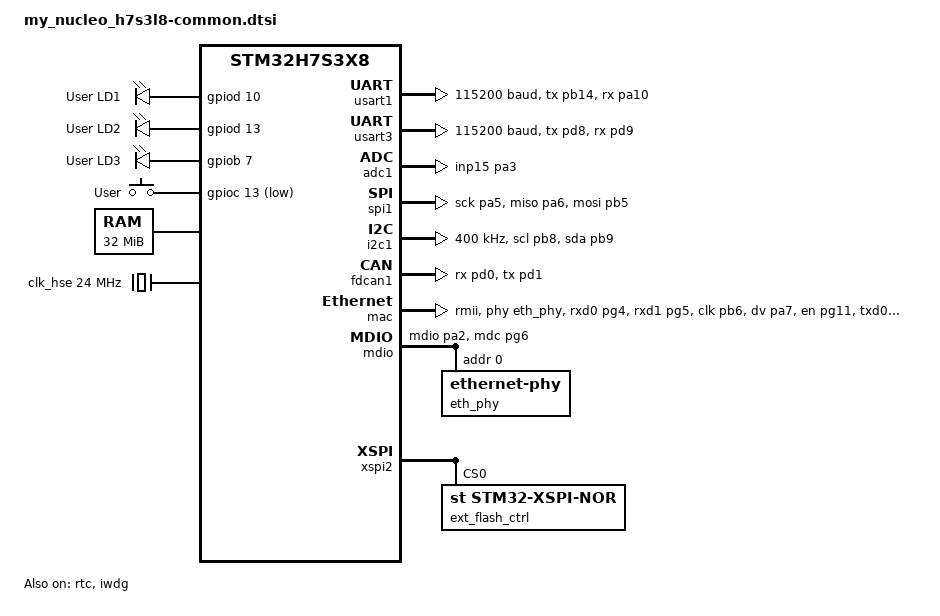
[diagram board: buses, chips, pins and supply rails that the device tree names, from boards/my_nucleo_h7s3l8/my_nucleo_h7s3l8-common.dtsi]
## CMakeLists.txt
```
cmake_minimum_required(VERSION 3.20.0)

set(ZEPHYR_EXTRA_MODULES "${CMAKE_CURRENT_LIST_DIR}/../modules/my-led-driver")
list(APPEND BOARD_ROOT ${CMAKE_CURRENT_LIST_DIR}/..)
list(APPEND DTS_ROOTS ${CMAKE_CURRENT_LIST_DIR}/..)
find_package(Zephyr REQUIRED)
project(my_zephyr_app)

target_sources(app PRIVATE src/main.cpp)

if (CONFIG_SHELL)
    zephyr_library_sources(src/app_shell.c)
endif()
```

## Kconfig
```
config APP_HEARTBEAT_PERIOD_MS
    int "LED heartbeat period (ms)"
    range 100 2000
    default 500

source "Kconfig.zephyr"
```

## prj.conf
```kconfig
CONFIG_GPIO=y
CONFIG_LOG=y
CONFIG_MY_LED_DRIVER=y

CONFIG_SERIAL=y
CONFIG_CONSOLE=y
CONFIG_UART_CONSOLE=y

CONFIG_SHELL=y
CONFIG_SHELL_BACKEND_SERIAL=y
```

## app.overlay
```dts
/* Nucleo H7S3L8 board LED overlay */
/ {
	my_led: my_led_driver {
		compatible = "mircea,my-led-driver";
		status = "okay";
		gpios = <&gpiob 7 GPIO_ACTIVE_HIGH>; /* Red LED on Nucleo H7S3L8 board */
	};

	my_led2: my_led_driver2 {
		compatible = "mircea,my-led-driver";
		status = "okay";
		gpios = <&gpiod 10 GPIO_ACTIVE_HIGH>; /* Green LED on Nucleo H7S3L8 board */
	};
};
```

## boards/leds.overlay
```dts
/* Nucleo H7S3L8 board LED overlay */
/ {
	aliases {
		ok-led = &green_led;
		warning-led = &yellow_led;
		error-led = &red_led;
	};
};
```

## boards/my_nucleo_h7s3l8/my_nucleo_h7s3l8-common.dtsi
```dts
/*
 * Copyright (c) 2024 STMicroelectronics
 * Copyright (c) 2025 JB-Lighting Lichtanlagentechnik
 *
 * SPDX-License-Identifier: Apache-2.0
 */

/dts-v1/;
#include <st/h7rs/stm32h7s3X8.dtsi>
#include <st/h7/stm32h7s3l8hx-pinctrl.dtsi>
#include "arduino_r3_connector.dtsi"
#include <zephyr/dt-bindings/input/input-event-codes.h>

/ {
	chosen {
		zephyr,console = &usart3;
		zephyr,shell-uart = &usart3;
		zephyr,dtcm = &dtcm;
		zephyr,sram = &sram0;
		zephyr,canbus = &fdcan1;
	};

	leds: leds {
		compatible = "gpio-leds";

		green_led: led_1 {
			gpios = <&gpiod 10 GPIO_ACTIVE_HIGH>;
			label = "User LD1";
		};

		yellow_led: led_2 {
			gpios = <&gpiod 13 GPIO_ACTIVE_HIGH>;
			label = "User LD2";
		};

		red_led: led_3 {
			gpios = <&gpiob 7 GPIO_ACTIVE_HIGH>;
			label = "User LD3";
		};
	};

	gpio_keys {
		compatible = "gpio-keys";

		user_button: button_0 {
			label = "User";
			gpios = <&gpioc 13 (GPIO_ACTIVE_LOW | GPIO_PULL_UP)>;
			zephyr,code = <INPUT_KEY_0>;
		};
	};

	aliases {
		led0 = &green_led;
		led1 = &yellow_led;
		led2 = &red_led;
		sw0 = &user_button;
		watchdog0 = &iwdg;
		spi-flash0 = &mx25uw25645;
		rtc = &rtc;
	};

	ext_memory: memory@70000000 {
		compatible = "zephyr,memory-region";
		reg = <0x70000000 DT_SIZE_M(32)>;
		zephyr,memory-region = "EXTMEM";
		zephyr,memory-attr = <DT_MEM_ARM(ATTR_MPU_FLASH)>;
	};
};

&clk_hse {
	clock-frequency = <DT_FREQ_M(24)>;
	status = "okay";
};

&clk_lse {
	status = "okay";
};

&pll {
	div-m = <12>;
	mul-n = <300>;
	div-p = <1>;
	div-q = <2>;
	div-r = <2>;
	div-s = <2>;
	div-t = <2>;
	clocks = <&clk_hse>;
	status = "okay";
};

/* PLL2 for clocking the xspi peripheral */
&pll2 {
	div-m = <12>;
	mul-n = <200>;
	div-p = <2>;
	div-q = <2>;
	div-r = <2>;
	div-s = <2>;
	div-t = <2>;
	clocks = <&clk_hse>;
	status = "okay";
};

&rcc {
	clocks = <&pll>;
	clock-frequency = <DT_FREQ_M(600)>;
	dcpre = <1>;
	hpre = <2>;
	ppre1 = <2>;
	ppre2 = <2>;
	ppre4 = <2>;
	ppre5 = <2>;
};

&pwr {
	power-supply = "ldo";
};

&usart1 {
	pinctrl-0 = <&usart1_tx_pb14 &usart1_rx_pa10>;
	pinctrl-names = "default";
	current-speed = <115200>;
	status = "okay";
};

&usart3 {
	pinctrl-0 = <&usart3_tx_pd8 &usart3_rx_pd9>;
	pinctrl-names = "default";
	current-speed = <115200>;
	status = "okay";
};

&gpdma1 {
	status = "okay";
};

&hpdma1 {
	status = "okay";
};

&rtc {
	clocks = <&rcc STM32_CLOCK(APB4, 16)>,
		 <&rcc STM32_SRC_LSE RTC_SEL(1)>;
	status = "okay";
};

&iwdg {
	status = "okay";
};

&adc1 {
	pinctrl-0 = <&adc1_inp15_pa3>; /* Arduino A0 */
	pinctrl-names = "default";
	st,adc-clock-source = "SYNC";
	st,adc-prescaler = <4>;
	status = "okay";
};

&spi1 {
	status = "okay";
	pinctrl-0 = <&spi1_sck_pa5 &spi1_miso_pa6 &spi1_mosi_pb5>;
	pinctrl-names = "default";
	cs-gpios = <&gpiod 14 (GPIO_ACTIVE_LOW | GPIO_PULL_UP)>;
};

&i2c1 {
	pinctrl-0 = <&i2c1_scl_pb8 &i2c1_sda_pb9>;
	pinctrl-names = "default";
	scl-gpios = <&gpiob 8 GPIO_ACTIVE_HIGH>;
	sda-gpios = <&gpiob 9 GPIO_ACTIVE_HIGH>;
	status = "okay";
	clock-frequency = <I2C_BITRATE_FAST>;
};

&fdcan1 {
	pinctrl-0 = <&fdcan1_rx_pd0 &fdcan1_tx_pd1>;
	pinctrl-names = "default";
	clocks = <&rcc STM32_CLOCK(APB1_2, 8)>,
		 <&rcc STM32_SRC_HSE FDCAN_SEL(0)>;
	status = "okay";
};

&mac {
	pinctrl-0 = <&eth_rmii_rxd0_pg4
		     &eth_rmii_rxd1_pg5
		     &eth_rmii_ref_clk_pb6
		     &eth_rmii_crs_dv_pa7
		     &eth_rmii_tx_en_pg11
		     &eth_rmii_txd0_pg13
		     &eth_rmii_txd1_pg12>;
	pinctrl-names = "default";
	phy-connection-type = "rmii";
	phy-handle = <&eth_phy>;
	status = "okay";
};

&mdio {
	pinctrl-0 = <&eth_mdio_pa2 &eth_mdc_pg6>;
	pinctrl-names = "default";
	status = "okay";

	eth_phy: ethernet-phy@0 {
		compatible = "ethernet-phy";
		reg = <0x00>;
	};
};

// &xspim {
// 	status = "okay";
// };

&xspi2 {
	pinctrl-0 = <&xspim_p2_clk_pn6 &xspim_p2_ncs1_pn1
		     &xspim_p2_io0_pn2 &xspim_p2_io1_pn3
		     &xspim_p2_io2_pn4 &xspim_p2_io3_pn5
		     &xspim_p2_io4_pn8 &xspim_p2_io5_pn9
		     &xspim_p2_io6_pn10 &xspim_p2_io7_pn11
		     &xspim_p2_dqs0_pn0>;
	pinctrl-names = "default";

	status = "okay";

	ext_flash_ctrl: xspi-nor-flash@0 {
		compatible = "st,stm32-xspi-nor";
		reg = <0>;
		size = <DT_SIZE_M(256)>; /* 256Mbits */
		ospi-max-frequency = <DT_FREQ_M(50)>;
		spi-bus-width = <XSPI_OCTO_MODE>;
		data-rate = <XSPI_DTR_TRANSFER>;
		four-byte-opcodes;
		status = "okay";

		#address-cells = <1>;
		#size-cells = <1>;
		ranges = <0x0 0x70000000 DT_SIZE_M(32)>;

		ext_flash: mx25uw25645: xspi-nor-flash@0 {
			compatible = "soc-nv-flash";
			reg = <0x0 DT_SIZE_M(32)>;
			write-block-size = <1>;
			erase-block-size = <DT_SIZE_K(4)>;
			#address-cells = <1>;
			#size-cells = <1>;
			ranges;
		};
	};
};

// zephyr_udc0: &usbotg_hs {
// 	pinctrl-0 = <&usb_otg_hs_dm_pm5 &usb_otg_hs_dp_pm6>;
// 	pinctrl-names = "default";
// 	status = "okay";
// };

// &usbphyc {
// 	/*
// 	 * There is no need to change `clocks` because
// 	 * we use the default configuration after reset:
// 	 *  USBPHYC kernel clock = HSE @ 24 MHz
// 	 */
// 	status = "okay";
// };
```

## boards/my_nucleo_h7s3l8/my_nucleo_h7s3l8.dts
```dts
/*
 * Copyright (c) 2024-2025 STMicroelectronics
 * Copyright (c) 2025 JB-Lighting Lichtanlagentechnik
 *
 * SPDX-License-Identifier: Apache-2.0
 */

/dts-v1/;
#include "my_nucleo_h7s3l8-common.dtsi"

/ {
	model = "STMicroelectronics My Custom STM32H7S3L8-NUCLEO board";
	compatible = "st,stm32h7s3l8-nucleo";

	chosen {
		zephyr,flash = &flash0;
		zephyr,flash-controller = &flash;
	};
};

&ext_flash {
	status = "okay";

	partitions {
		compatible = "fixed-partitions";
		#address-cells = <1>;
		#size-cells = <1>;

		storage_partition: partition@0 {
			label = "storage";
			reg = <0x00000000 DT_SIZE_M(32)>; /* 32MB */
		};
	};
};

&iocell {
	status = "okay";

	vddxspi2 {
		hslv-mode = "on";
		compensation-enabled;
	};
};
```

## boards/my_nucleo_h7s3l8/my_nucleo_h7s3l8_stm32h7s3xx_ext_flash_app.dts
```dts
/*
 * Copyright (c) 2024 STMicroelectronics
 * Copyright (c) 2025 JB-Lighting Lichtanlagentechnik
 *
 * SPDX-License-Identifier: Apache-2.0
 */

/dts-v1/;
#include "my_nucleo_h7s3l8-common.dtsi"

/ {
	model = "STMicroelectronics My Custom STM32H7S3L8-NUCLEO board";
	compatible = "st,stm32h7s3l8-nucleo";

	chosen {
		zephyr,flash = &ext_flash;
		zephyr,flash-controller = &ext_flash_ctrl;
		zephyr,code-partition = &slot0_partition;
	};
};

&flash0 {
	partitions {
		#address-cells = <1>;
		#size-cells = <1>;
		ranges;

		boot_partition: partition@0 {
			compatible = "zephyr,mapped-partition";
			label = "mcuboot";
			reg = <0x00000000 DT_SIZE_K(64)>;
		};
	};
};

&ext_flash {
	status = "okay";

	partitions {
		#address-cells = <1>;
		#size-cells = <1>;
		ranges;

		slot0_partition: partition@0 {
			compatible = "zephyr,mapped-partition";
			label = "image-0";
			reg = <0x00000000 DT_SIZE_M(8)>;
		};

		slot1_partition: partition@800000 {
			compatible = "zephyr,mapped-partition";
			label = "image-1";
			reg = <0x00800000 DT_SIZE_M(8)>;
		};

		storage_partition: partition@1000000 {
			compatible = "zephyr,mapped-partition";
			label = "storage";
			reg = <0x01000000 DT_SIZE_M(16)>;
		};
	};
};
```

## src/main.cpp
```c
#include <zephyr/drivers/gpio.h>
#include <zephyr/kernel.h>
#include <zephyr/logging/log.h>
#include <zephyr/drivers/sensor.h>
#include "my-led-driver/my_led.h"

// LED as a sensor device
const struct device *led = DEVICE_DT_GET(DT_NODELABEL(my_led));

LOG_MODULE_REGISTER(main, LOG_LEVEL_INF);

int main(void)
{
    if (!device_is_ready(led)) {
        printk("My LED not ready!\n");
        return -ENODEV;
    }

    while (1) {
        my_led_driver_set_state(led, true);
        k_msleep(CONFIG_APP_HEARTBEAT_PERIOD_MS);
        my_led_driver_set_state(led, false);
        k_msleep(CONFIG_APP_HEARTBEAT_PERIOD_MS);
    }

    return 0;
}
```

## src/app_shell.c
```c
#include <zephyr/shell/shell.h>
#include <zephyr/drivers/sensor.h>
#include "my-led-driver/my_led.h"

const struct device *led_dev = DEVICE_DT_GET(DT_NODELABEL(my_led2));

static int cmd_sensor_fetch(const struct shell *sh, size_t argc, char **argv) {
    ARG_UNUSED(argc);
    ARG_UNUSED(argv);
    sensor_sample_fetch(led_dev);
    shell_print(sh, "LED state: 1");
    return 0;
}

static int cmd_sensor_read(const struct shell *sh, size_t argc, char **argv) {
    ARG_UNUSED(argc);
    ARG_UNUSED(argv);

    struct sensor_value value;
    int ret = sensor_channel_get(led_dev, SENSOR_CHAN_ALL, &value);
    if (ret != 0) {
        shell_error(sh, "sensor_channel_get failed: %d", ret);
        return ret;
    }
    shell_print(sh, "LED state: %d", value.val1);
    
    return 0;
}

static int cmd_sensor_info(const struct shell *sh, size_t argc, char **argv) {
    ARG_UNUSED(argc);
    ARG_UNUSED(argv);
    shell_print(sh, "Sensor name: %s", led_dev->name);
    shell_print(sh, "Device ready: %s", device_is_ready(led_dev) ? "yes" : "no");
    return 0;
}

static int cmd_sensor_set(const struct shell *sh, size_t argc, char **argv) {
    if (argc != 2 || (strcmp(argv[1], "on") != 0 && strcmp(argv[1], "off") != 0)) {
        shell_error(sh, "Usage: sensor set <on|off>");
        return -EINVAL;
    }

    if (strcmp(argv[1], "on") == 0) {
        my_led_driver_set_state(led_dev, true);
        shell_print(sh, "LED turned ON");
    } else if (strcmp(argv[1], "off") == 0) {
        my_led_driver_set_state(led_dev, false);
        shell_print(sh, "LED turned OFF");
    }

    return 0;
}

SHELL_STATIC_SUBCMD_SET_CREATE(
    sub_sensor,
    SHELL_CMD(fetch, NULL, "Turn LED ON", cmd_sensor_fetch),
    SHELL_CMD(read, NULL, "Turn LED OFF", cmd_sensor_read),
    SHELL_CMD(info, NULL, "Device name and ready state", cmd_sensor_info),
    SHELL_CMD_ARG(set, NULL, "Set LED state (on|off)", cmd_sensor_set, 2, 0),
    SHELL_SUBCMD_SET_END);

SHELL_CMD_REGISTER(sensor, &sub_sensor, "My LED Driver shell commands", NULL);
```
